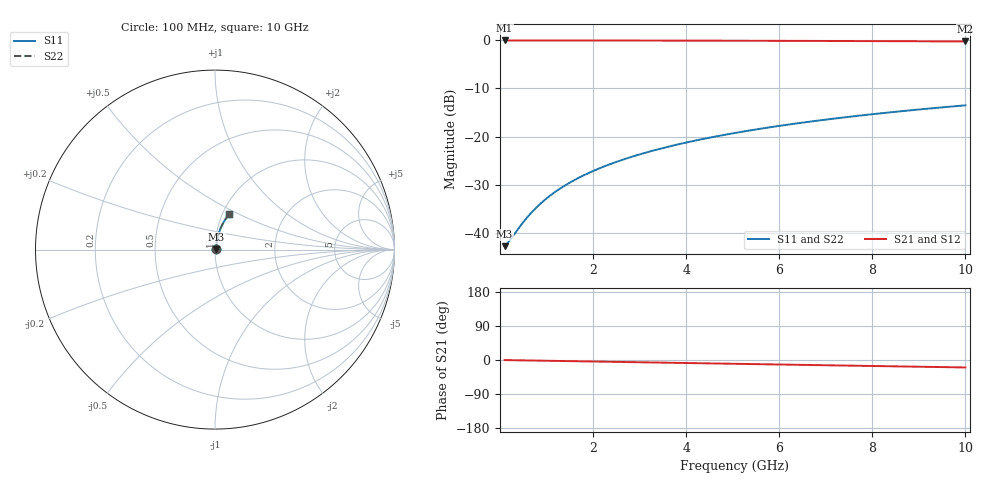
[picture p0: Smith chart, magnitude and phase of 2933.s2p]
# Hz S RI R 50.00
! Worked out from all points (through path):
!   100 points, 100 MHz to 10 GHz, reference 50 ohm
!   highest |S21| = -0.06 dB at 100 MHz (marker M1); lowest = -0.3 dB at 10 GHz (marker M2)
!   group delay of S21, straight-line fit = 5.47 ps
!   lowest |S11| = -42.6 dB at 100 MHz (marker M3), VSWR 1.01, Z = 50.7 + j0.219 ohm
!   |S11| at or under -10 dB: start of sweep to end of sweep
!   |S22| runs from -42.6 to -13.5 dB; largest |S21 - S12| = 0
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1e8  0.00706 0.00216  0.9929 -0.00345  0.9929 -0.00345  0.00706 0.00216
2e8  0.00713 0.00432  0.9929 -0.00689  0.9929 -0.00689  0.00713 0.00432
4e8  0.00728 0.00863  0.9927 -0.0138  0.9927 -0.0138  0.00728 0.00863
5e8  0.00737 0.0108  0.9926 -0.0172  0.9926 -0.0172  0.00737 0.0108
6e8  0.00747 0.0129  0.9925 -0.0207  0.9925 -0.0207  0.00747 0.0129
7e8  0.00759 0.0151  0.9924 -0.0241  0.9924 -0.0241  0.00759 0.0151
9e8  0.00786 0.0194  0.9921 -0.031  0.9921 -0.031  0.00786 0.0194
1.1e9  0.00819 0.0237  0.9917 -0.0379  0.9917 -0.0379  0.00819 0.0237
1.3e9  0.00857 0.028  0.9913 -0.0447  0.9913 -0.0447  0.00857 0.028
1.5e9  0.00901 0.0323  0.9908 -0.0516  0.9908 -0.0516  0.00901 0.0323
1.8e9  0.00978 0.0387  0.9899 -0.0619  0.9899 -0.0619  0.00978 0.0387
2.1e9  0.0107 0.0451  0.9889 -0.0722  0.9889 -0.0722  0.0107 0.0451
2.5e9  0.0121 0.0536  0.9874 -0.0858  0.9874 -0.0858  0.0121 0.0536
2.9e9  0.0137 0.062  0.9855 -0.0994  0.9855 -0.0994  0.0137 0.062
3.4e9  0.0161 0.0725  0.9829 -0.1164  0.9829 -0.1164  0.0161 0.0725
4.2e9  0.0206 0.0891  0.9779 -0.1433  0.9779 -0.1433  0.0206 0.0891
5.1e9  0.0268 0.1073  0.971 -0.1732  0.971 -0.1732  0.0268 0.1073
5.9e9  0.0332 0.1231  0.9639 -0.1994  0.9639 -0.1994  0.0332 0.1231
6.7e9  0.0404 0.1385  0.9558 -0.2252  0.9558 -0.2252  0.0404 0.1385
7.5e9  0.0484 0.1534  0.9468 -0.2505  0.9468 -0.2505  0.0484 0.1534
8.4e9  0.0583 0.1696  0.9356 -0.2784  0.9356 -0.2784  0.0583 0.1696
1e10  0.0782 0.1966  0.9132 -0.3263  0.9132 -0.3263  0.0782 0.1966
